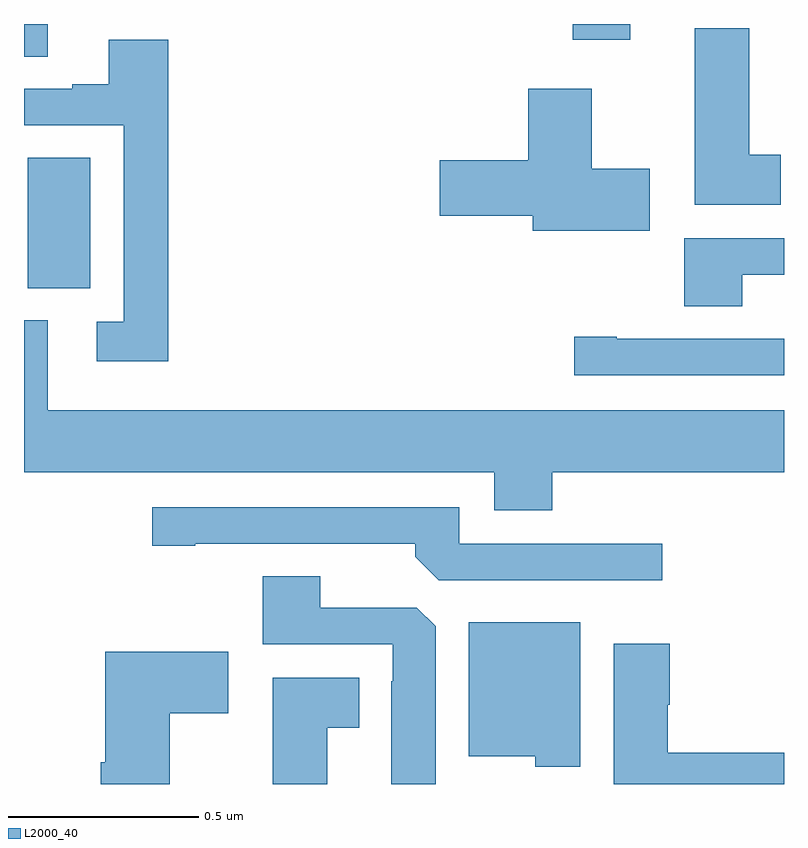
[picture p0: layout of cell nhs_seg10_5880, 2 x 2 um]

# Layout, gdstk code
import gdstk
lib = gdstk.Library(unit=1e-6, precision=1e-09)
def R(c, l, rs):  # rectangles x0, y0, x1, y1
    for r in rs: c.add(gdstk.rectangle(r[:2], r[2:], *l))
def P(c, l, *ps):  # polygons
    for p in ps: c.add(gdstk.Polygon(p, *l))
L2000_40 = (2000, 40)

nhs_seg10_5880 = lib.new_cell('nhs_seg10_5880')
R(nhs_seg10_5880, L2000_40, [(184.01,1296.805,184.174,1297.148), (184,1297.414,184.063,1297.5), (185.444,1297.458,185.596,1297.5)])
P(nhs_seg10_5880, L2000_40, [(185.992,1297.156),(185.908,1297.156),(185.908,1297.489),(185.765,1297.489),(185.765,1297.025),(185.992,1297.025)],
  [(184.379,1297.459),(184.223,1297.459),(184.223,1297.342),(184.127,1297.342),(184.127,1297.329),(184,1297.329),(184,1297.233),(184.263,1297.233),(184.263,1296.717),(184.191,1296.717),(184.191,1296.612),(184.379,1296.612)],
  [(185.647,1297.119),(185.494,1297.119),(185.494,1297.33),(185.327,1297.33),(185.327,1297.142),(185.094,1297.142),(185.094,1296.995),(185.339,1296.995),(185.339,1296.956),(185.647,1296.956)],
  [(185.89,1296.84),(186,1296.84),(186,1296.936),(185.738,1296.936),(185.738,1296.757),(185.89,1296.757)],
  [(185.39,1296.32),(186,1296.32),(186,1296.484),(184.063,1296.484),(184.063,1296.72),(184,1296.72),(184,1296.32),(185.237,1296.32),(185.237,1296.221),(185.39,1296.221)],
  [(186,1296.672),(185.56,1296.672),(185.56,1296.677),(185.448,1296.677),(185.448,1296.576),(186,1296.576)],
  [(185.68,1296.132),(185.145,1296.132),(185.145,1296.228),(184.338,1296.228),(184.338,1296.127),(184.45,1296.127),(184.45,1296.132),(185.03,1296.132),(185.03,1296.098),(185.091,1296.036),(185.68,1296.036)],
  [(185.083,1295.915),(185.034,1295.964),(184.78,1295.964),(184.78,1296.047),(184.628,1296.047),(184.628,1295.868),(184.971,1295.868),(184.971,1295.771),(184.967,1295.771),(184.967,1295.5),(185.083,1295.5)],
  [(185.464,1295.926),(185.171,1295.926),(185.171,1295.573),(185.346,1295.573),(185.346,1295.546),(185.464,1295.546)],
  [(186,1295.582),(185.694,1295.582),(185.694,1295.708),(185.699,1295.708),(185.699,1295.869),(185.552,1295.869),(185.552,1295.5),(186,1295.5)],
  [(184.384,1295.686),(184.537,1295.686),(184.537,1295.848),(184.214,1295.848),(184.214,1295.557),(184.202,1295.557),(184.202,1295.5),(184.384,1295.5)],
  [(184.798,1295.648),(184.882,1295.648),(184.882,1295.779),(184.655,1295.779),(184.655,1295.5),(184.798,1295.5)])

lib.write_gds('nhs_seg10_5880.gds')
